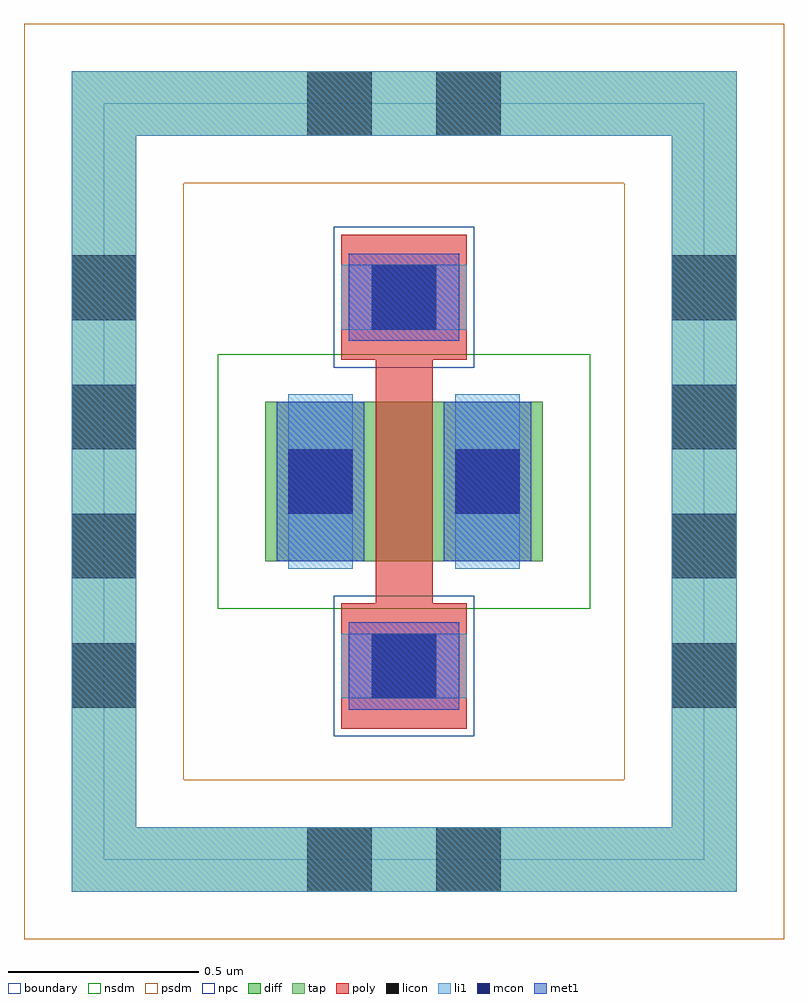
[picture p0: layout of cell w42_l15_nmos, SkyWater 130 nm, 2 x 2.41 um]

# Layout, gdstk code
import gdstk
lib = gdstk.Library(unit=1e-6, precision=1e-09)
def R(c, l, rs):  # rectangles x0, y0, x1, y1
    for r in rs: c.add(gdstk.rectangle(r[:2], r[2:], *l))
def A(c, l, x, y, w, h, nx, ny, dx, dy):  # array of equal rectangles
    R(c, l, [(x+i*dx, y+j*dy, x+i*dx+w, y+j*dy+h) for i in range(nx) for j in range(ny)])
diff = (65, 20)
tap = (65, 44)
poly = (66, 20)
licon = (66, 44)
li1 = (67, 20)
mcon = (67, 44)
met1 = (68, 20)
nsdm = (93, 44)
psdm = (94, 20)
npc = (95, 20)
boundary = (235, 4)

sky130_fd_pr__nfet_01v8 = lib.new_cell('sky130_fd_pr__nfet_01v8')

w42_l15_nmos = lib.new_cell('w42_l15_nmos')
R(w42_l15_nmos, diff, [(-0.365,-0.21,0.365,0.21)])
R(w42_l15_nmos, tap, [(-0.875,-1.08,0.875,-0.91), (-0.875,-0.91,-0.705,0.91), (0.705,-0.91,0.875,0.91), (-0.875,0.91,0.875,1.08)])
R(w42_l15_nmos, poly, [(-0.165,-0.65,0.165,-0.32), (-0.075,-0.32,0.075,0.32), (-0.165,0.32,0.165,0.65)])
A(w42_l15_nmos, licon, -0.875, -0.595, 0.17, 0.17, 1, 4, 0, 0.34)
A(w42_l15_nmos, licon, 0.705, -0.595, 0.17, 0.17, 1, 4, 0, 0.34)
R(w42_l15_nmos, licon, [(-0.255,-1.08,-0.085,-0.91), (0.085,-1.08,0.255,-0.91), (-0.085,-0.57,0.085,-0.4), (-0.305,-0.085,-0.135,0.085), (0.135,-0.085,0.305,0.085), (-0.085,0.4,0.085,0.57), (-0.255,0.91,-0.085,1.08), (0.085,0.91,0.255,1.08)])
R(w42_l15_nmos, li1, [(-0.875,-1.08,0.875,-0.91), (-0.875,-0.91,-0.705,0.91), (0.705,-0.91,0.875,0.91), (-0.165,-0.57,0.165,-0.4), (-0.305,-0.23,-0.135,0.23), (0.135,-0.23,0.305,0.23), (-0.165,0.4,0.165,0.57), (-0.875,0.91,0.875,1.08)])
R(w42_l15_nmos, mcon, [(-0.085,-0.57,0.085,-0.4), (-0.305,-0.085,-0.135,0.085), (0.135,-0.085,0.305,0.085), (-0.085,0.4,0.085,0.57)])
R(w42_l15_nmos, met1, [(-0.145,-0.6,0.145,-0.37), (-0.335,-0.21,-0.105,0.21), (0.105,-0.21,0.335,0.21), (-0.145,0.37,0.145,0.6)])
R(w42_l15_nmos, nsdm, [(-0.49,-0.335,0.49,0.335)])
R(w42_l15_nmos, psdm, [(-1,-1.205,1,-0.785), (-1,-0.785,-0.58,0.785), (0.58,-0.785,1,0.785), (-1,0.785,1,1.205)])
R(w42_l15_nmos, npc, [(-0.185,-0.67,0.185,-0.3), (-0.185,0.3,0.185,0.67)])
R(w42_l15_nmos, boundary, [(-0.79,-0.995,0.79,0.995)])
w42_l15_nmos.add(gdstk.Reference(sky130_fd_pr__nfet_01v8, (0,0)))

lib.write_gds('w42_l15_nmos.gds')
